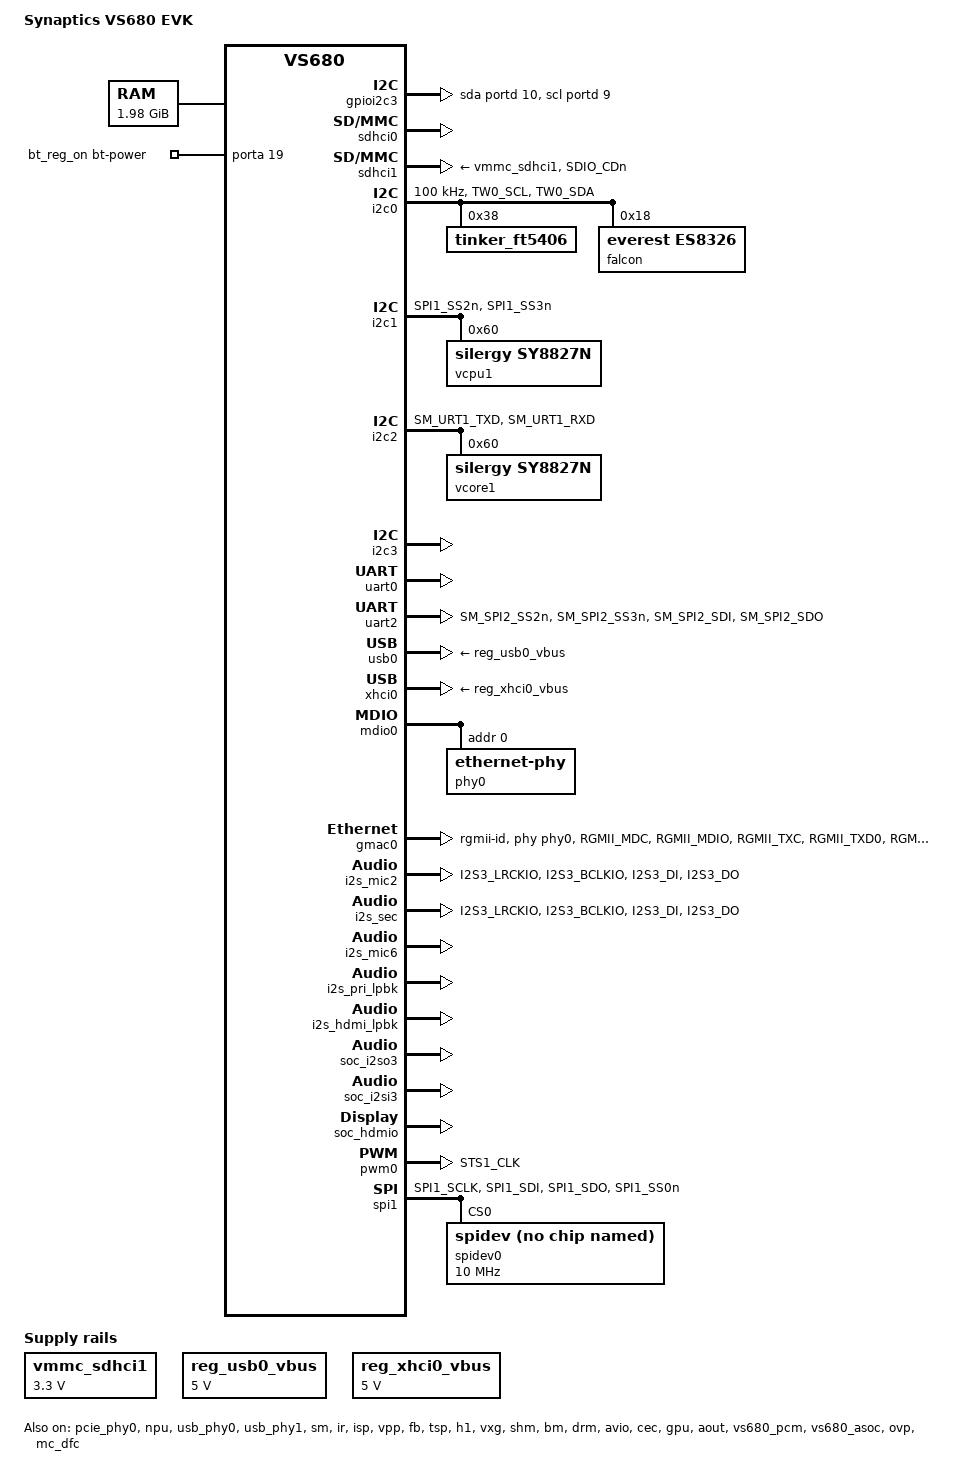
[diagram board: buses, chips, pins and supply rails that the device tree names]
// SPDX-License-Identifier: (GPL-2.0 OR MIT)
/*
 * Copyright (C) 2020 Synaptics Incorporated
 *
 * Author: Jisheng Zhang <jszhang@kernel.org>
 */

/dts-v1/;

/memreserve/ 0x7f000000 0x01000000;

#include <dt-bindings/gpio/gpio.h>

#include "vs680-a0.dtsi"

/ {
	model = "Synaptics VS680 EVK";
	compatible = "syna,vs680-evk", "syna,vs680";

	aliases {
		i2c3 = &i2cdemux3_i2c;
	};

	cpus {
		cpu@0 {
			cpu0-supply = <&vcpu>;
		};
	};

	chosen {
		stdout-path = "serial0:115200n8";
	};

	memory {
		device_type = "memory";
		reg = <0 0x01000000 0 0x7f000000>;
	};

	reserved-memory {
		#address-cells = <2>;
		#size-cells = <2>;
		ranges;

		ramoops@f901c000{
			compatible = "ramoops";
			reg = <0x0 0xf901c000 0x0 0x4000>;
			record-size = <0x4000>;
		};
	};	

	ion {
		compatible = "syna,ion-berlin-heaps";
		pool-num = <2>;
		reg-names = "NonSecure", "Secure";
		reg = <0 0x7f000000 0 0x00800000>,
		      <0 0x7f800000 0 0x00800000>;
		attributes-num-per-pool = <2>;
		pool-attributes = <0x00000105 0x00000F3A 0x00000102 0x00000F3D>;
	};

	regulators {
		compatible = "simple-bus";
		#address-cells = <1>;
		#size-cells = <0>;

		vmmc_sdhci1: vmmc_sdhci1 {
			compatible = "regulator-fixed";
			regulator-min-microvolt = <3300000>;
			regulator-max-microvolt = <3300000>;
			regulator-name = "vmmc_sdio";
			enable-active-high;
			//gpio = <&expander3 1 GPIO_ACTIVE_HIGH>;
		};

		reg_usb0_vbus: usb0_vbus {
			compatible = "regulator-fixed";
			regulator-name = "usb0_vbus";
			regulator-min-microvolt = <5000000>;
			regulator-max-microvolt = <5000000>;
			//gpio = <&expander2 3 GPIO_ACTIVE_HIGH>;
			enable-active-high;
		};

		reg_xhci0_vbus: xhci0_vbus {
			compatible = "regulator-fixed";
			regulator-name = "xhci0_vbus";
			regulator-min-microvolt = <5000000>;
			regulator-max-microvolt = <5000000>;
			//gpio = <&expander2 2 GPIO_ACTIVE_HIGH>;
			enable-active-high;
		};
	};

	dummy_label {
		dummy1 = <&vcpu1>;
		dummy2 = <&vcore1>;
	};

	bt_reg_on: bt_reg_on {
		compatible = "syna,rfkill";
		bt-power-gpio = <&porta 19 GPIO_ACTIVE_HIGH>;
	};

	bluesleep: bluesleep {
		compatible = "syna,bluesleep";
		//bt-dev-wake-gpio = <&expander1 3 GPIO_ACTIVE_HIGH>;
	};

	gpioi2c3: gpioi2c3 {
		#address-cells = <1>;
		#size-cells = <0>;
		compatible = "i2c-gpio";
		gpios = <&portd 10 GPIO_ACTIVE_HIGH /* sda */
			 &portd 9 GPIO_ACTIVE_HIGH /* scl */
			>;
		i2c-gpio,delay-us = <5>;
	};

	i2cdemux3 {
		compatible = "i2c-dyndmx-pinctrl";
		#address-cells = <1>;
		#size-cells = <0>;

		i2c-parent = <&i2c3>, <&gpioi2c3>;

		pinctrl-names = "i2c3", "gpioi2c3";
		pinctrl-0 = <&i2c3_pmux>;
		pinctrl-1 = <&gpioi2c3_pmux>;

		i2cdemux3_i2c: i2c@0 {
			reg = <0>;
			#address-cells = <1>;
			#size-cells = <0>;
		};

		i2c@1 {
			reg = <1>;
			#address-cells = <1>;
			#size-cells = <0>;
		};
	};
};

&pinctrl {
	gmac0_pmux: gmac0-pmux {
		groups = "RGMII_MDC", "RGMII_MDIO", "RGMII_TXC", "RGMII_TXD0", "RGMII_TXD1", "RGMII_TXD2", "RGMII_TXD3", "RGMII_TXCTL", "RGMII_RXC", "RGMII_RXD0", "RGMII_RXD1", "RGMII_RXD2", "RGMII_RXD3", "RGMII_RXCTL";
		function = "rgmii";
		drive-strength = <3>;
	};

	i2c0_pmux: i2c0-pmux {
		groups = "TW0_SCL", "TW0_SDA";
		function = "tw0";
		drive-strength = <7>;
	};

	i2c1_pmux: i2c1-pmux {
		groups = "SPI1_SS2n", "SPI1_SS3n";
		function = "tw1b";
		drive-strength = <3>;
	};

	sdhci1_pmux: sdhci1-pmux {
		groups = "SDIO_CDn";
		function = "sdio";
		drive-strength = <7>;
	};

	expander3_pmux: expander3-pmux {
		groups = "USB2_DRV_VBUS";
		function = "gpio";
	};

	pwm0_pmux: pwm0-pmux {
		groups = "STS1_CLK";
		function = "pwm";
	};

	pwm0_gpio: pwm0-gpio {
		groups = "STS1_CLK";
		function = "gpio";
	};

	pwm1_pmux: pwm1-pmux {
		groups = "STS1_SOP";
		function = "pwm";
	};

	pwm1_gpio: pwm1-gpio {
		groups = "STS1_SOP";
		function = "gpio";
	};

	spi1_pmux: spi1-pmux {
		groups = "SPI1_SCLK", "SPI1_SDI", "SPI1_SDO", "SPI1_SS0n";
		function = "spi1";
		drive-strength = <3>;
	};
};

&sm_pinctrl {
	i2c2_pmux: i2c2-pmux {
		groups = "SM_URT1_TXD", "SM_URT1_RXD";
		function = "tw2b";
		drive-strength = <7>;
	};

	i2c3_pmux: i2c3-pmux {
		groups = "SM_TW3_SCL", "SM_TW3_SDA";
		function = "tw3";
		drive-strength = <7>;
	};

	uart2_pmux: uart2-pmux {
		groups = "SM_SPI2_SS2n", "SM_SPI2_SS3n", "SM_SPI2_SDI", "SM_SPI2_SDO";
		function = "uart2";
		drive-strength = <3>;
	};

	gpioi2c3_pmux: gpioi2c3-pmux {
		groups = "SM_TW3_SCL", "SM_TW3_SDA";
		function = "gpio";
		drive-strength = <7>;
	};

	hrx5v_pmux: hrx5v-pmux {
		groups = "SM_HDMIRX_PWR5V";
		function = "gpio";
		drive-strength = <7>;
	};
};

&avio_pinctrl {
	i2s1_pmux: i2s1-pmux {
		groups = "I2S1_BCLKIO", "I2S1_LRCKIO", "I2S1_DO0", "I2S1_MCLK";
		function = "i2s1";
	};
/*
	i2s2_pmux: i2s2-pmux {
		groups = "I2S2_BCLKIO", "I2S2_LRCKIO", "I2S2_DI0";
		function = "i2s2";
	};

	falcon_gpio_pmux: falcon_gpio-pmux {
		groups = "I2S1_DO1";
		function = "gpio";
	};
*/
	i2s3_pmux: i2s3-pmux {
		groups = "I2S3_LRCKIO", "I2S3_BCLKIO", "I2S3_DI", "I2S3_DO";
		function = "i2s3";
	};
/*
	pdm_pmux: pdm-pmux {
		groups = "I2S2_MCLK", "I2S2_DI3", "I2S2_DI2";
		function = "pdm";
	};

	spdifo_pmux: spdifo-pmux {
		groups = "SPDIFO";
		function = "spdifo";
	};

	spdifi_pmux: spdifi-pmux {
		groups = "SPDIFI";
		function = "spdifi";
	};

	spdifo_pmux: spdifo-pmux {
		groups = "SPDIFO";
		function = "spdifo";
	};
*/
	pwm2_pmux: pwm2-pmux {
		groups = "I2S1_DO2";
		function = "pwm";
	};

	pwm2_gpio: pwm2-gpio {
		groups = "I2S1_DO2";
		function = "gpio";
	};

	pwm3_pmux: pwm3-pmux {
		groups = "I2S1_DO3";
		function = "pwm";
	};

	pwm3_gpio: pwm3-gpio {
		groups = "I2S1_DO3";
		function = "gpio";
	};
};

&sdhci0 {
	status = "okay";
	sdclkdl-dc = /bits/ 8 <26>;
	mmc-ddr-1_8v;
	mmc-hs200-1_8v;
	mmc-hs400-1_8v;
	dll-calibration;
	pad-sp = /bits/ 8 <14>;
	pad-sn = /bits/ 8 <14>;
};

&sdhci1 {
	status = "okay";
	pinctrl-0 = <&sdhci1_pmux>;
	pinctrl-names = "default";
	no-sdio;
	no-mmc;
	no-removable;  //SD not detected
	disable-wp;
	sdclkdl-dc = /bits/ 8 <75>;
	pad-sp = /bits/ 8 <12>;
	pad-sn = /bits/ 8 <12>;
	vmmc-supply = <&vmmc_sdhci1>;
};

&pcie_phy0 {
	status = "okay";
};

&pcie0 {
	status = "disabled";
	//reset-gpios = <&expander1 1 GPIO_ACTIVE_LOW>;
};

&i2c0 {
	status = "okay";
	pinctrl-names = "default";
	pinctrl-0 = <&i2c0_pmux>;
	no-irq-suspend;
	clock-frequency = <100000>;
	tinker_ft5406: tinker_ft5406@38 {
		compatible = "tinker_ft5406";
		status = "okay";
		reg = <0x38>;
	};
	falcon:es8326@18{
		compatible = "everest,es8326";
		pinctrl-names = "default";
		#sound-dai-cells = <0>;
		reg = <0x18>;
		status = "okay";
	};

};

&i2c1 {
	status = "okay";
	pinctrl-names = "default";
	pinctrl-0 = <&i2c1_pmux>;

	vcpu: regulator@62 {
		status = "disabled";
		compatible = "mps,mp8867";
		regulator-name = "vcpu";
		regulator-min-microvolt = <700000>;
		regulator-max-microvolt = <980000>;
		regulator-always-on;
		regulator-boot-on;
		//enable-gpios = <&expander0 1 GPIO_ACTIVE_LOW>;
		mps,fb-voltage-divider = <80 240>;
		regulator-active-discharge = <0>;
		mps,switch-frequency-hz = <1500000>;
		mps,vsel-step = <1>;
		reg = <0x62>;
	};

	vcpu1: regulator1@60 {
		status = "okay";
		compatible = "silergy,sy8827n";
		regulator-name = "vcpu";
		regulator-min-microvolt = <700000>;
		regulator-max-microvolt = <987500>;
		regulator-always-on;
		regulator-boot-on;
		regulator-active-discharge = <0>;
		//enable-gpios = <&expander0 1 GPIO_ACTIVE_LOW>;
		silergy,vsel-step = <1>;
		reg = <0x60>;
	};
};

&i2c2 {
	status = "okay";
	pinctrl-names = "default";
	pinctrl-0 = <&i2c2_pmux>;

	vcore: regulator@60 {
		status = "disabled";
		compatible = "mps,mp8869";
		regulator-name = "vcore";
		regulator-min-microvolt = <700000>;
		regulator-max-microvolt = <900000>;
		regulator-always-on;
		regulator-boot-on;
		//enable-gpios = <&expander0 0 GPIO_ACTIVE_LOW>;
		mps,fb-voltage-divider = <80 240>;
		regulator-active-discharge = <0>;
		mps,switch-frequency-hz = <1250000>;
		mps,vsel-step = <1>;
		regulator-ramp-delay = <40000>;
		reg = <0x60>;
	};

	vcore1: regulator1@60 {
		status = "okay";
		compatible = "silergy,sy8827n";
		regulator-name = "vcore";
		regulator-min-microvolt = <700000>;
		regulator-max-microvolt = <937500>;
		regulator-always-on;
		regulator-boot-on;
		regulator-active-discharge = <0>;
		//enable-gpios = <&expander0 0 GPIO_ACTIVE_LOW>;
		silergy,vsel-step = <1>;
		reg = <0x60>;
	};
};

&i2c3 {
	status = "okay";
	no-irq-suspend;
};

&uart0 {
	status = "okay";
};

&uart2 {
	status = "okay";
	pinctrl-0 = <&uart2_pmux>;
	pinctrl-names = "default";
};

&npu {
	status = "okay";
};

&usb0 {
	vbus-supply = <&reg_usb0_vbus>;
	status = "okay";
};

&usb_phy0  {
	status = "okay";
};

&xhci0 {
	vbus-supply = <&reg_xhci0_vbus>;
	status = "okay";
};

&usb_phy1  {
	status = "okay";
};

&mdio0 {
	phy0: ethernet-phy@0 {
		reg = <0>;
	};
};

&gmac0 {
	status = "okay";
	pinctrl-0 = <&gmac0_pmux>;
	pinctrl-names = "default";
	phy-handle = <&phy0>;
	phy-mode = "rgmii-id";
	snps,reset-gpio = <&porta 17 GPIO_ACTIVE_LOW>;
	snps,reset-delays-us = <0 10000 50000>;
};

&sm {
	status = "okay";
};

&ir {
	status = "okay";
};

&isp {
	status = "okay";
	//enable-gpios = <&porta 4 GPIO_ACTIVE_HIGH>;
	rcamrst-gpio = <&porta 4 GPIO_ACTIVE_HIGH>;
	i2c-bus = <&i2c3>;
	dev-addr = <112>;
};

&vpp {
	status = "okay";
};

&fb {
	status = "okay";
};

&tsp {
	status = "okay";
};

&h1 {
	status = "okay";
};

&vxg {
	status = "okay";
};

&shm {
	status = "okay";
};

&bm {
	status = "okay";
};

&drm {
	status = "okay";
};

&avio {
	status = "okay";
	vpp {
		hdtx5v-gpio = <&portd 16 GPIO_ACTIVE_HIGH>;
		//mipirst-gpio = <&expander3 5 GPIO_ACTIVE_LOW>;
	};
};

&cec {
	status = "okay";
};

&axi_mc0 {
	status = "okay";
};

&gpu {
	status = "okay";
};

&aout {
	status = "okay";
};

&hrx {
	status = "disabled";
	pinctrl-0 = <&hrx5v_pmux>;
	pinctrl-names = "default";
	//hrxhpd-gpio = <&expander1 4 GPIO_ACTIVE_HIGH>;
	hrx5v-gpio = <&portd 21 GPIO_ACTIVE_HIGH>;
};

&i2s_pri {
	status = "disabled";
	//pinctrl-0 = <&i2s1_pmux>, <&spdifo_pmux>;
	pinctrl-names = "default";
};

&spdif_out {
	status = "disabled";
	//pinctrl-0 = <&spdifo_pmux>;
	pinctrl-names = "default";
};

&i2s_mic1 {
	status = "disabled";
	//pinctrl-0 = <&i2s2_pmux>;
	pinctrl-names = "default";
	intlmode;
};

&dmic {
	status = "disabled";
	//pinctrl-0 = <&pdm_pmux>;
	pinctrl-names = "default";
	//pdm-data-sel-gpio = <&expander2 4 GPIO_ACTIVE_HIGH>;
	pdm-type = <1>;
	pdm-clk-sel = <2>;
};

&i2s_mic2 {
	status = "okay";
	pinctrl-0 = <&i2s3_pmux>;
	pinctrl-names = "default";
//	slave;
//	invertbclk;
	intlmode;
	duplex;
	disablemicmute;
};

&i2s_sec {
	status = "okay";
	pinctrl-0 = <&i2s3_pmux>;
	pinctrl-names = "default";
	duplex;
};

&i2s_mic6 {
	status = "okay";
};

&i2s_pri_lpbk {
	status = "okay";
};

&i2s_hdmi_lpbk {
	status = "okay";
};

&hdmi_out {
        status = "okay";
};

&vs680_spdifi {
	status = "disabled";
	//pinctrl-0 = <&spdifi_pmux>;
	pinctrl-names = "default";
	//gate-gpio = <&expander2 4 GPIO_ACTIVE_HIGH>;
	//enable-gpio = <&expander3 7 GPIO_ACTIVE_LOW>;
	dynamic-src-ctrl;
};

&vs680_pcm {
	status = "okay";
};

&vs680_asoc {
	status = "okay";

	soc_spdifo: soc-spdifo {
		status = "disabled";
		stream-name = "soc-spdifo";
		link-name = "soc-spdifo";
		format = "dsp_a";
		cpu-node = <&spdif_out>;
		codec-name = "snd-soc-dummy";
		codec-dai-name = "snd-soc-dummy-dai";
		platform-node = <&vs680_pcm>;
	};

	soc_dmic: soc-dmic {
		status = "disabled";
		stream-name = "soc-dmic";
		link-name = "soc-dmic";
		cpu-node = <&dmic>;
		codec-name = "snd-soc-dummy";
		codec-dai-name = "snd-soc-dummy-dai";
		platform-node = <&vs680_pcm>;
	};

	soc_i2si: soc-i2si {
		status = "disabled";
		stream-name = "soc-i2si";
		link-name = "soc-i2si";
		format = "i2s";
		cpu-node = <&i2s_mic1>;
		codec-name = "snd-soc-dummy";
		codec-dai-name = "snd-soc-dummy-dai";
		platform-node = <&vs680_pcm>;
	};

	soc_i2so3: soc-i2so3 {
		status = "okay";
		stream-name = "soc-i2so3";
		link-name = "soc-i2so3";
		format = "i2s";
		//bitclock-inversion;
		bitclock-master;
		frame-master;
		cpu-node = <&i2s_sec>;
		codec-name = "es8326.0-0018";
		codec-dai-name = "es8326-amplifier";
		platform-node = <&vs680_pcm>;
	};

	soc_i2si3: soc-i2si3 {
		status = "okay";
		stream-name = "soc-i2si3";
		link-name = "soc-i2si3";
		format = "i2s";
		bitclock-master;
		frame-master;
		cpu-node = <&i2s_mic2>;
		codec-name = "es8326.0-0018";
		codec-dai-name = "es8326-amplifier";
		platform-node = <&vs680_pcm>;
	};

	soc_i2s_pri_lpbk: soc-i2s-pri-lpbk {
		status = "disabled";
		stream-name = "soc-i2s-pri-lpbk";
		link-name = "soc-i2s-pri-lpbk";
		format = "i2s";
		cpu-node = <&i2s_pri_lpbk>;
		codec-name = "snd-soc-dummy";
		codec-dai-name = "snd-soc-dummy-dai";
		platform-node = <&vs680_pcm>;
	};

	soc_i2s_hdmi_lpbk: soc-i2s-hdmi-lpbk {
		status = "disabled";
		stream-name = "soc-i2s-hdmi-lpbk";
		link-name = "soc-i2s-hdmi-lpbk";
		format = "i2s";
		cpu-node = <&i2s_hdmi_lpbk>;
		codec-name = "snd-soc-dummy";
		codec-dai-name = "snd-soc-dummy-dai";
		platform-node = <&vs680_pcm>;
	};

	soc_spdifi: soc-spdifi {
		status = "disabled";
		stream-name = "soc-spdifi";
		link-name = "soc-spdifi";
		cpu-node = <&vs680_spdifi>;
		codec-name = "snd-soc-dummy";
		codec-dai-name = "snd-soc-dummy-dai";
		platform-node = <&vs680_pcm>;
	};

	soc_i2s_earc: soc-i2s-earc {
		status = "disabled";
		stream-name = "soc-i2s-earc";
		link-name = "soc-i2s-earc";
		format = "i2s";
		bitclock-master;
		frame-master;
		cpu-node = <&i2s_mic6>;
		codec-name = "snd-soc-dummy";
		codec-dai-name = "snd-soc-dummy-dai";
		platform-node = <&vs680_pcm>;
	};
	soc_hdmio: soc-hdmio {
        status = "okay";
        stream-name = "soc-hdmio";
        link-name = "soc-hdmio";
        format = "i2s";
        cpu-node = <&hdmi_out>;
        codec-name = "snd-soc-dummy";
        codec-dai-name = "snd-soc-dummy-dai";
        platform-node = <&vs680_pcm>;
   };

};

&ovp {
	status = "okay";
};

&pwm0 {
	pinctrl-0 = <&pwm0_pmux>;
	pinctrl-1 = <&pwm0_gpio>;
	pinctrl-2 = <&pwm1_pmux>;
	pinctrl-3 = <&pwm1_gpio>;
	pinctrl-4 = <&pwm2_pmux>;
	pinctrl-5 = <&pwm2_gpio>;
	pinctrl-6 = <&pwm3_pmux>;
	pinctrl-7 = <&pwm3_gpio>;
	pinctrl-names = "pwm0","pwm0_gpio","pwm1","pwm1_gpio",\
	"pwm2","pwm2_gpio","pwm3","pwm3_gpio";
	status = "okay";
};

&mc_dfc {
	status = "okay";
};

&spi1 {
	status = "okay";
	pinctrl-0 = <&spi1_pmux>;
	pinctrl-names = "default";
	num-cs = <1>;

	spidev0: spidev@0 {
		compatible = "linux,spidev";
		reg = <0>;
		spi-max-frequency = <10000000>;
	};
};
